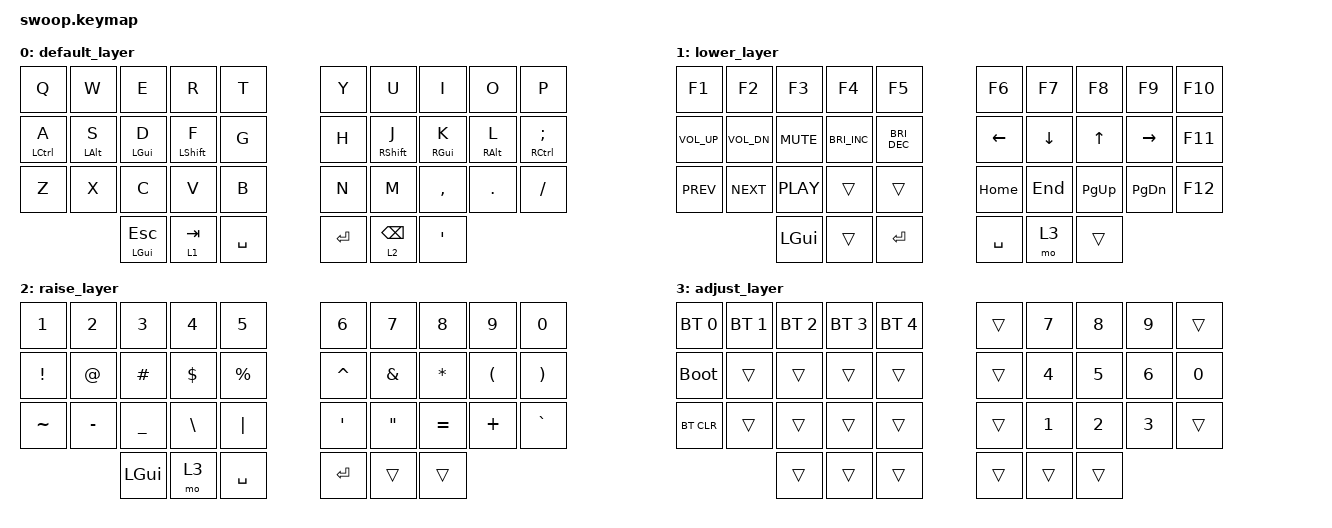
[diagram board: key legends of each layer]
/*
 * Copyright (c) 2020 The ZMK Contributors
 *
 * SPDX-License-Identifier: MIT
 */
/*                              36 KEY MATRIX / LAYOUT MAPPING

  ╭────────────────────┬────────────────────╮ ╭─────────────────────┬─────────────────────╮
  │  0   1   2   3   4 │  5   6   7   8   9 │ │ LT4 LT3 LT2 LT1 LT0 │ RT0 RT1 RT2 RT3 RT4 │
  │ 10  11  12  13  14 │ 15  16  17  18  19 │ │ LM4 LM3 LM2 LM1 LM0 │ RM0 RM1 RM2 RM3 RM4 │
  │ 20  21  22  23  24 │ 25  26  27  28  29 │ │ LB4 LB3 LB2 LB1 LB0 │ RB0 RB1 RB2 RB3 RB4 │
  ╰───────╮ 30  31  32 │ 33  34  35 ╭───────╯ ╰───────╮ LH2 LH1 LH0 │ RH0 RH1 RH2 ╭───────╯
          ╰────────────┴────────────╯                 ╰─────────────┴─────────────╯             */

#include <behaviors.dtsi>
#include <dt-bindings/zmk/bt.h>
#include <dt-bindings/zmk/keys.h>

// Home row mods macro (CAGS for MacOS)

#define HRML(k1,k2,k3,k4) &thm LCTRL k1  &thm LALT k2  &thm LGUI k3  &thm LSHFT k4
#define HRMR(k1,k2,k3,k4) &thm RSHFT k1  &thm RGUI k2  &thm RALT k3  &thm RCTRL k4

/ {
    behaviors {
        // timeless homerow mods

        thm: timeless_homerow_mods {
            label = "timeless_homerow_mods";
            compatible = "zmk,behavior-hold-tap";
            #binding-cells = <2>;
            flavor = "balanced";
            tapping-term-ms = <200>;
            quick-tap-ms = <180>; // repeat on tap-into-hold
            require-prior-idle-ms = <120>;
            bindings = <&kp>, <&kp>;

            hold-trigger-on-release; // delay positional check until key-release
        };

        // layer-tap for thumb keys

        mlt: my_layer_tap {
            label = "my_layer_tap";
            compatible = "zmk,behavior-hold-tap";
            #binding-cells = <2>;
            flavor = "balanced";
            tapping-term-ms = <200>;
            quick-tap-ms = <180>; // repeat on tap-into-hold
            require-prior-idle-ms = <120>;
            bindings = <&mo>, <&kp>;

            hold-trigger-on-release; // delay positional check until key-release
        };
    };

    combos {
        compatible = "zmk,combos";

        // [

        combo_lbkt {
            timeout-ms = <50>;
            key-positions = <23 24>;
            bindings = <&kp LBKT>;
            layers = <0>;
        };

        // ]

        combo_rbkt {
            timeout-ms = <50>;
            key-positions = <25 26>;
            bindings = <&kp RBKT>;
            layers = <0>;
        };

        // {

        combo_lbrc {
            timeout-ms = <50>;
            key-positions = <13 14>;
            bindings = <&kp LBRC>;
            layers = <0>;
        };

        // }

        combo_rbrc {
            timeout-ms = <50>;
            key-positions = <15 16>;
            bindings = <&kp RBRC>;
            layers = <0>;
        };

        // (

        combo_lpar {
            bindings = <&kp LPAR>;
            key-positions = <3 4>;
        };

        // )

        combo_rpar {
            bindings = <&kp RPAR>;
            key-positions = <5 6>;
        };

        // `

        combo_tilde {
            bindings = <&kp TILDE>;
            key-positions = <20 21>;
            timeout-ms = <50>;
            layers = <0>;
        };

        // -

        combo_minus {
            bindings = <&kp MINUS>;
            key-positions = <21 22>;
            timeout-ms = <50>;
            layers = <0>;
        };

        // _

        combo_under {
            bindings = <&kp UNDER>;
            key-positions = <22 23>;
            timeout-ms = <50>;
            layers = <0>;
        };

        // =

        combo_equal {
            bindings = <&kp EQUAL>;
            key-positions = <26 27>;
            timeout-ms = <50>;
            layers = <0>;
        };

        // +

        combo_plus {
            bindings = <&kp PLUS>;
            key-positions = <27 28>;
            timeout-ms = <50>;
            layers = <0>;
        };

        // ~

        combo_grave {
            bindings = <&kp GRAVE>;
            key-positions = <28 29>;
            timeout-ms = <50>;
            layers = <0>;
        };

        // C-SPC

        combo_c_spc {
            bindings = <&kp LC(SPACE)>;
            key-positions = <10 11>;
            timeout-ms = <50>;
            layers = <0>;
        };

        // C-S-TAB

        combo_tab_prev {
            bindings = <&kp LC(LS(TAB))>;
            key-positions = <11 12>;
            timeout-ms = <50>;
            layers = <0>;
        };

        // C-TAB

        combo_tab_next {
            bindings = <&kp LC(TAB)>;
            key-positions = <12 13>;
            timeout-ms = <50>;
            layers = <0>;
        };

        // - [ ]

        combo_todo {
            bindings = <&todo>;
            key-positions = <14 15>; // gh
            layers = <0>;
            timeout-ms = <50>;
        };

        combo_gmail {
            bindings = <&gmail>;
            key-positions = <14 26>; // gm
            timeout-ms = <50>;
            layers = <0>;
        };

        combo_email {
            bindings = <&email>;
            key-positions = <2 26 10>; // ema
            timeout-ms = <40>;
            layers = <0>;
        };

        combo_tel {
            bindings = <&tel>;
            key-positions = <4 2 18>; // tel
            timeout-ms = <50>;
            layers = <0>;
        };

        combo_mobile {
            bindings = <&mobile>;
            key-positions = <24 26 8>; // mob
            timeout-ms = <50>;
            layers = <0>;
        };

        combo_name {
            bindings = <&name>;
            key-positions = <5 11>; // ys
            timeout-ms = <50>;
            layers = <0>;
        };

        combo_uts {
            bindings = <&uts>;
            key-positions = <6 4 11>; // uts
            timeout-ms = <50>;
            layers = <0>;
        };

        combo_sid {
            bindings = <&sid>;
            key-positions = <7 12>; // id
            timeout-ms = <50>;
            layers = <0>;
        };
    };

    macros {
        todo: todo {
            compatible = "zmk,behavior-macro";
            label = "TODO";
            #binding-cells = <0>;
            wait-ms = <0>;
            tap-ms = <0>;
            bindings = <&kp MINUS &kp SPACE &kp LBKT &kp SPACE &kp RBKT &kp SPACE>;
        };

        gmail: gmail {
            compatible = "zmk,behavior-macro";
            label = "GMAIL";
            #binding-cells = <0>;
            wait-ms = <10>;
            tap-ms = <10>;
            bindings = <&kp Y &kp S &kp H &kp E &kp N &kp F &kp A &kp B &kp AT &kp G &kp M &kp A &kp I &kp L &kp DOT &kp C &kp O &kp M>;
        };

        name: name {
            compatible = "zmk,behavior-macro";
            label = "YS";
            #binding-cells = <0>;
            wait-ms = <0>;
            tap-ms = <0>;
            bindings = <&kp LS(Y) &kp A &kp N &kp G &kp SPACE &kp LS(S) &kp H &kp E &kp N>;
        };

        uts: uts {
            compatible = "zmk,behavior-macro";
            label = "UTS";
            #binding-cells = <0>;
            wait-ms = <10>;
            tap-ms = <10>;
            bindings = <&kp LS(U) &kp N &kp I &kp V &kp E &kp R &kp S &kp I &kp T &kp Y &kp SPACE &kp O &kp F &kp SPACE &kp LS(T) &kp E &kp C &kp H &kp N &kp O &kp L &kp O &kp G &kp Y &kp SPACE &kp LS(S) &kp Y &kp D &kp N &kp E &kp Y>;
        };

        sid: sid {
            compatible = "zmk,behavior-macro";
            label = "SID";
            #binding-cells = <0>;
            wait-ms = <0>;
            tap-ms = <0>;
            bindings = <&kp N1 &kp N3 &kp N9 &kp N4 &kp N6 &kp N6 &kp N1 &kp N9>;
        };

        email: email {
            compatible = "zmk,behavior-macro";
            label = "EMAIL";
            #binding-cells = <0>;
            wait-ms = <10>;
            tap-ms = <10>;
            bindings = <&kp LS(Y) &kp A &kp N &kp G &kp DOT &kp LS(S) &kp H &kp E &kp N &kp MINUS &kp N9 &kp AT &kp S &kp T &kp U &kp D &kp E &kp N &kp T &kp DOT &kp U &kp T &kp S &kp DOT &kp E &kp D &kp U &kp DOT &kp A &kp U>;
        };

        mobile: mobile {
            compatible = "zmk,behavior-macro";
            label = "MOBILE";
            #binding-cells = <0>;
            wait-ms = <0>;
            tap-ms = <0>;
            bindings = <&kp N0 &kp N4 &kp N7 &kp N8 &kp N2 &kp N4 &kp N8 &kp N5 &kp N4 &kp N9>;
        };

        tel: tel {
            compatible = "zmk,behavior-macro";
            #binding-cells = <0>;
            bindings = <&kp N1 &kp N8 &kp N6 &kp N8 &kp N2 &kp N2 &kp N1 &kp N1 &kp N3 &kp N5 &kp N7>;
            label = "TEL";
        };
    };

    keymap {
        compatible = "zmk,keymap";

        default_layer {
            bindings = <
&kp Q         &kp W        &kp E         &kp R         &kp T        &kp Y    &kp U         &kp I        &kp O        &kp P
&thm LCTRL A  &thm LALT S  &thm LGUI D   &thm LSHFT F  &kp G        &kp H    &thm RSHFT J  &thm RGUI K  &thm RALT L  &thm RCTRL SEMI
&kp Z         &kp X        &kp C         &kp V         &kp B        &kp N    &kp M         &kp COMMA    &kp DOT      &kp FSLH
                           &mt LGUI ESC  &mlt 1 TAB    &kp SPACE    &kp RET  &mlt 2 BSPC   &kp SQT
            >;
        };

        lower_layer {
            bindings = <
&kp F1           &kp F2        &kp F3      &kp F4                &kp F5                  &kp F6     &kp F7    &kp F8     &kp F9     &kp F10
&kp C_VOLUME_UP  &kp C_VOL_DN  &kp K_MUTE  &kp C_BRIGHTNESS_INC  &kp C_BRIGHTNESS_DEC    &kp LEFT   &kp DOWN  &kp UP     &kp RIGHT  &kp F11
&kp C_PREV       &kp C_NEXT    &kp C_PLAY  &trans                &trans                  &kp HOME   &kp END   &kp PG_UP  &kp PG_DN  &kp F12
                               &kp LGUI    &trans                &kp RETURN              &kp SPACE  &mo 3     &trans
            >;
        };

        raise_layer {
            bindings = <
&kp N1     &kp N2     &kp N3     &kp N4    &kp N5       &kp N6     &kp N7    &kp N8     &kp N9    &kp N0
&kp EXCL   &kp AT     &kp HASH   &kp DLLR  &kp PRCNT    &kp CARET  &kp AMPS  &kp ASTRK  &kp LPAR  &kp RPAR
&kp TILDE  &kp MINUS  &kp UNDER  &kp BSLH  &kp PIPE     &kp SQT    &kp DQT   &kp EQUAL  &kp PLUS  &kp GRAVE
                      &kp LGUI   &mo 3     &kp SPACE    &kp RET    &trans    &trans
            >;
        };

        adjust_layer {
            bindings = <
&bt BT_SEL 0  &bt BT_SEL 1  &bt BT_SEL 2  &bt BT_SEL 3  &bt BT_SEL 4    &trans  &kp N7  &kp N8  &kp N9  &trans
&bootloader   &trans        &trans        &trans        &trans          &trans  &kp N4  &kp N5  &kp N6  &kp N0
&bt BT_CLR    &trans        &trans        &trans        &trans          &trans  &kp N1  &kp N2  &kp N3  &trans
                            &trans        &trans        &trans          &trans  &trans  &trans
            >;
        };
    };
};
